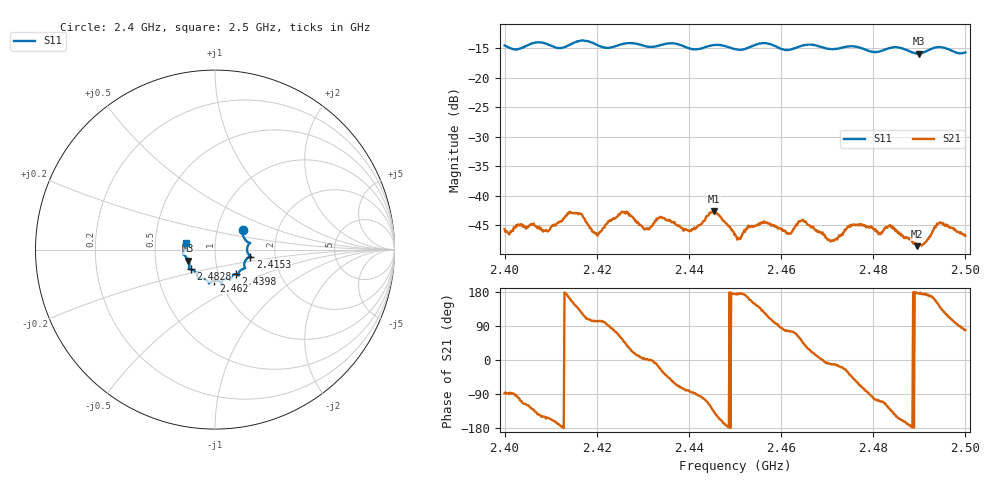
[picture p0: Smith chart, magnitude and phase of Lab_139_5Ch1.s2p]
# Hz S RI R 50
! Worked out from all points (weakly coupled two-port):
!   601 points, 2.4 GHz to 2.5 GHz, reference 50 ohm
!   highest |S21| = -42.63 dB at 2.4455 GHz (marker M1); lowest = -48.6 dB at 2.4895 GHz (marker M2)
!   lowest |S11| = -15.9 dB at 2.4898 GHz (marker M3), VSWR 1.38, Z = 36.8 - j4.63 ohm
!   |S11| at or under -10 dB: start of sweep to end of sweep
!   S12 and S22 are empty: the file has one direction only
!   S11 on the Smith chart (normalised r, x): 2.4 GHz: 1.33, +0.29; 2.4153 GHz: 1.48, -0.12; 2.4398 GHz: 1.21, -0.34; 2.462 GHz: 0.93, -0.33; 2.4828 GHz: 0.74, -0.17; 2.5 GHz: 0.72, +0.06
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2.4e9  0.1547 0.1068  0.000194 -0.00519  0 0  0 0
2.409167e9  0.1906 0.0333  -0.00441 -0.00238  0 0  0 0
2.415333e9  0.1967 -0.0386  -0.00577 0.00412  0 0  0 0
2.416667e9  0.2026 -0.0429  -0.00399 0.00571  0 0  0 0
2.42e9  0.185 -0.0459  -0.00104 0.00461  0 0  0 0
2.4255e9  0.1657 -0.0993  0.00412 0.00607  0 0  0 0
2.430833e9  0.1449 -0.1139  0.00528 0.000225  0 0  0 0
2.433333e9  0.131 -0.1337  0.00615 -0.00181  0 0  0 0
2.439833e9  0.1155 -0.1363  0.000916 -0.005  0 0  0 0
2.4455e9  0.0844 -0.1699  -0.00547 -0.00497  0 0  0 0
2.45e9  0.0649 -0.1625  -0.00472 0.00042  0 0  0 0
2.456167e9  0.0387 -0.1932  -0.00355 0.00469  0 0  0 0
2.462e9  -0.00517 -0.1733  0.00117 0.00462  0 0  0 0
2.466667e9  -0.0342 -0.1878  0.00503 0.0019  0 0  0 0
2.471167e9  -0.0603 -0.1642  0.00408 -0.000873  0 0  0 0
2.475333e9  -0.0932 -0.16  0.004 -0.00392  0 0  0 0
2.482833e9  -0.1365 -0.1094  -0.00265 -0.00475  0 0  0 0
2.483333e9  -0.1402 -0.1092  -0.00332 -0.00443  0 0  0 0
2.4895e9  -0.1464 -0.066  -0.00372 0.000251  0 0  0 0
2.489833e9  -0.1484 -0.0612  -0.00383 0.0003  0 0  0 0
2.494333e9  -0.1808 -0.0217  -0.00462 0.00359  0 0  0 0
2.5e9  -0.1593 0.0391  0.000872 0.00449  0 0  0 0
